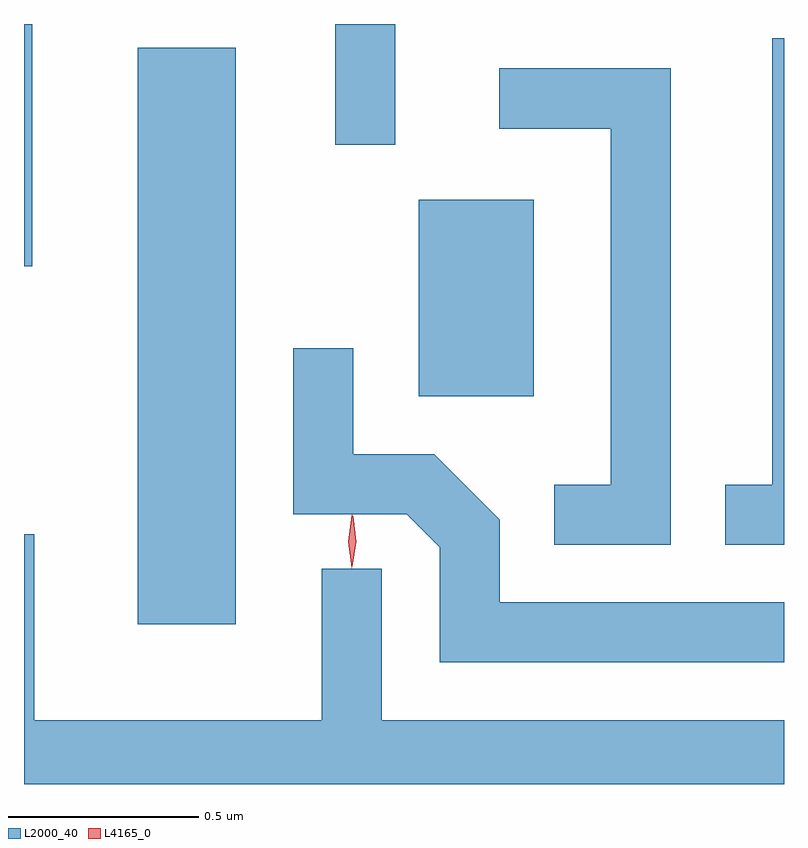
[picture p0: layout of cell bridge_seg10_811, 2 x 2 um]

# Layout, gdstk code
import gdstk
lib = gdstk.Library(unit=1e-6, precision=1e-09)
def R(c, l, rs):  # rectangles x0, y0, x1, y1
    for r in rs: c.add(gdstk.rectangle(r[:2], r[2:], *l))
def P(c, l, *ps):  # polygons
    for p in ps: c.add(gdstk.Polygon(p, *l))
L2000_40 = (2000, 40)
L4165_0 = (4165, 0)

bridge_seg10_811 = lib.new_cell('bridge_seg10_811')
R(bridge_seg10_811, L2000_40, [(525.666,2098.896,525.924,2100.414), (526.406,2099.496,526.709,2100.014), (525.367,2099.838,525.389,2100.476), (526.186,2100.158,526.344,2100.476)])
P(bridge_seg10_811, L2000_40, [(527.367,2100.439),(527.336,2100.439),(527.336,2099.264),(527.213,2099.264),(527.213,2099.106),(527.367,2099.106)],
  [(527.069,2100.359),(526.618,2100.359),(526.618,2100.201),(526.911,2100.201),(526.911,2099.264),(526.763,2099.264),(526.763,2099.106),(527.069,2099.106)],
  [(527.367,2098.954),(526.619,2098.954),(526.619,2099.172),(526.447,2099.344),(526.234,2099.344),(526.234,2099.623),(526.076,2099.623),(526.076,2099.186),(526.374,2099.186),(526.461,2099.099),(526.461,2098.796),(527.367,2098.796)],
  [(527.367,2098.644),(526.309,2098.644),(526.309,2099.043),(526.151,2099.043),(526.151,2098.644),(525.394,2098.644),(525.394,2099.133),(525.367,2099.133),(525.367,2098.476),(527.367,2098.476)])
P(bridge_seg10_811, L4165_0, [(526.23,2099.044),(526.23,2099.045),(526.22,2099.114),(526.23,2099.183),(526.231,2099.184),(526.231,2099.183),(526.24,2099.114),(526.23,2099.045)],
  [(526.23,2099.048),(526.222,2099.114),(526.232,2099.18),(526.232,2099.181),(526.233,2099.18),(526.241,2099.114),(526.231,2099.048),(526.231,2099.048)])

lib.write_gds('bridge_seg10_811.gds')
